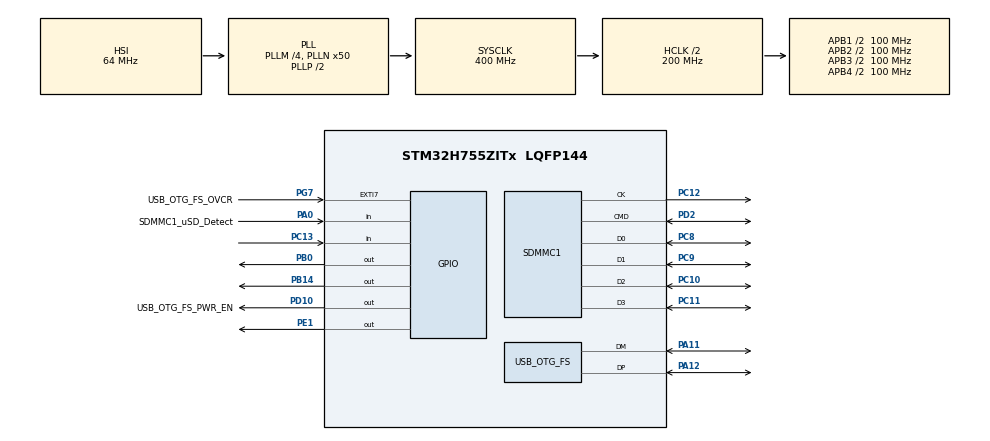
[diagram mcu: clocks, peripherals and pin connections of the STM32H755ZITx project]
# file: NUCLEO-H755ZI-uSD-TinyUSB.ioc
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CORTEX_M7.AccessPermission_S-Cortex_Memory_Protection_Unit_Region1_Settings_S=MPU_REGION_FULL_ACCESS
CORTEX_M7.CPU_DCache=Enabled
CORTEX_M7.CPU_ICache=Enabled
CORTEX_M7.Enable_S-Cortex_Memory_Protection_Unit_Region1_Settings_S=MPU_REGION_ENABLE
CORTEX_M7.Size_S-Cortex_Memory_Protection_Unit_Region1_Settings_S=MPU_REGION_SIZE_512KB
CORTEX_M7.TypeExtField_S-Cortex_Memory_Protection_Unit_Region1_Settings_S=MPU_TEX_LEVEL1
CORTEX_M7.default_mode_Activation=1
CortexM4.IPs=FATFS_M4\:I,FREERTOS_M4\:I,IWDG2\:I,RCC,WWDG2\:I,DMA,BDMA,MDMA,NVIC2\:I,ETH,USART3,DEBUG,PDM2PCM_M4\:I,PWR,RESMGR_UTILITY,SYS_M4\:I,USB_DEVICE_M4\:I,USB_HOST_M4\:I,CORTEX_M4\:I,GPIO,OPENAMP_M4\:I,VREFBUF,NUCLEO-H755ZI-Q
CortexM7.IPs=FATFS_M7\:I,FREERTOS_M7\:I,IWDG1\:I,RCC\:I,WWDG1\:I,DMA\:I,BDMA\:I,MDMA\:I,NVIC1\:I,ETH\:I,USART3\:I,USB_OTG_FS\:I,SYS\:I,CORTEX_M7\:I,DEBUG\:I,PDM2PCM_M7\:I,PWR\:I,RESMGR_UTILITY\:I,USB_DEVICE_M7\:I,USB_HOST_M7\:I,GPIO\:I,OPENAMP_M7\:I,VREFBUF\:I,NUCLEO-H755ZI-Q\:I,SDMMC1\:I
FATFS.BSP.number=1
FATFS0.BSP.STBoard=false
FATFS0.BSP.api=Unknown
FATFS0.BSP.instance=PA0
FATFS0.BSP.ip=GPIO
FATFS0.BSP.mode=Input
FATFS0.BSP.name=Detect_SDIO
FATFS0.BSP.solution=PA0
FATFS_M7.USE_DMA_CODE_SD=1
FATFS_M7._FS_EXFAT=1
FATFS_M7._MAX_SS=4096
FATFS_M7._USE_LFN=1
Mcu.Family=STM32H7
Mcu.Name=STM32H755ZITx
Mcu.Package=LQFP144
Mcu.UserConstants=SDMMC1_CK_DIV-CortexM7,4
NUCLEO-H755ZI-Q.BUTTON=1
NUCLEO-H755ZI-Q.Bsp_Common_DEMO=true
NUCLEO-H755ZI-Q.LD1=true
NUCLEO-H755ZI-Q.LD2=true
NUCLEO-H755ZI-Q.LD3=true
NUCLEO-H755ZI-Q.VCP=true
NVIC1.EXTI15_10_IRQn=true\:15\:0\:true\:false\:true\:false\:true\:true
NVIC1.OTG_FS_IRQn=true\:14\:0\:true\:false\:true\:true\:true\:true
NVIC1.PriorityGroup=NVIC_PRIORITYGROUP_4
NVIC1.SDMMC1_IRQn=true\:13\:0\:true\:false\:true\:true\:true\:true
NVIC2.PriorityGroup=NVIC_PRIORITYGROUP_4
PA0.GPIO_Label=SDMMC1_uSD_Detect
PA0.PinAttribute=Free
PA0.Signal=GPIO_Input
PA1.PinAttribute=CortexM7
PA1.Signal=ETH_REF_CLK
PA11.Mode=Device_Only
PA11.PinAttribute=CortexM7
PA11.Signal=USB_OTG_FS_DM
PA12.Mode=Device_Only
PA12.PinAttribute=CortexM7
PA12.Signal=USB_OTG_FS_DP
PA2.PinAttribute=CortexM7
PA2.Signal=ETH_MDIO
PA7.PinAttribute=CortexM7
PA7.Signal=ETH_CRS_DV
PA8.PinAttribute=CortexM7
PA8.Signal=USB_OTG_FS_SOF
PA9.PinAttribute=CortexM7
PA9.Signal=USB_OTG_FS_VBUS
PB0.Signal=GPIO_Output
PB13.PinAttribute=CortexM7
PB13.Signal=ETH_TXD1
PB14.Signal=GPIO_Output
PC1.PinAttribute=CortexM7
PC1.Signal=ETH_MDC
PC10.Mode=SD_4_bits_Wide_bus
PC10.PinAttribute=CortexM7
PC10.Signal=SDMMC1_D2
PC11.Mode=SD_4_bits_Wide_bus
PC11.PinAttribute=CortexM7
PC11.Signal=SDMMC1_D3
PC12.Mode=SD_4_bits_Wide_bus
PC12.PinAttribute=CortexM7
PC12.Signal=SDMMC1_CK
PC13.Signal=GPIO_Input
PC14-OSC32_IN\ (OSC32_IN).PinAttribute=Free
PC14-OSC32_IN\ (OSC32_IN).Signal=RCC_OSC32_IN
PC15-OSC32_OUT\ (OSC32_OUT).PinAttribute=Free
PC15-OSC32_OUT\ (OSC32_OUT).Signal=RCC_OSC32_OUT
PC4.PinAttribute=CortexM7
PC4.Signal=ETH_RXD0
PC5.PinAttribute=CortexM7
PC5.Signal=ETH_RXD1
PC8.Mode=SD_4_bits_Wide_bus
PC8.PinAttribute=CortexM7
PC8.Signal=SDMMC1_D0
PC9.Mode=SD_4_bits_Wide_bus
PC9.PinAttribute=CortexM7
PC9.Signal=SDMMC1_D1
PD10.GPIO_Label=USB_OTG_FS_PWR_EN
PD10.PinAttribute=Free
PD10.Signal=GPIO_Output
PD2.Mode=SD_4_bits_Wide_bus
PD2.PinAttribute=CortexM7
PD2.Signal=SDMMC1_CMD
PD8.Signal=USART3_TX
PD9.Signal=USART3_RX
PE1.Signal=GPIO_Output
PG11.PinAttribute=CortexM7
PG11.Signal=ETH_TX_EN
PG13.PinAttribute=CortexM7
PG13.Signal=ETH_TXD0
PG7.GPIO_Label=USB_OTG_FS_OVCR
PG7.PinAttribute=Free
PG7.Signal=GPXTI7
PH0-OSC_IN\ (PH0).PinAttribute=Free
PH0-OSC_IN\ (PH0).Signal=RCC_OSC_IN
PH1-OSC_OUT\ (PH1).PinAttribute=Free
PH1-OSC_OUT\ (PH1).Signal=RCC_OSC_OUT
ProjectManager.HeapSize=M4-0x400,M7-0x400
ProjectManager.StackSize=M4-0x800,M7-0x800
ProjectManager.TargetToolchain=STM32CubeIDE
RCC.ADCFreq_Value=129000000
RCC.APB1Freq_Value=100000000
RCC.APB2Freq_Value=100000000
RCC.APB3Freq_Value=100000000
RCC.APB4Freq_Value=100000000
RCC.CortexFreq_Value=400000000
RCC.D1PPRE=RCC_APB3_DIV2
RCC.D2PPRE1=RCC_APB1_DIV2
RCC.D2PPRE2=RCC_APB2_DIV2
RCC.D3PPRE=RCC_APB4_DIV2
RCC.DIVM1=4
RCC.DIVN1=50
RCC.DIVQ1=4
RCC.HCLKFreq_Value=200000000
RCC.HPRE=RCC_HCLK_DIV2
RCC.PLL2FRACN=0
RCC.PLL3FRACN=0
RCC.PLLFRACN=0
RCC.SYSCLKFreq_VALUE=400000000
RCC.SYSCLKSource=RCC_SYSCLKSOURCE_PLLCLK
RCC.SupplySource=PWR_DIRECT_SMPS_SUPPLY
RCC.USBCLockSelection=RCC_USBCLKSOURCE_HSI48
RCC.USBFreq_Value=48000000
SDMMC1.ClockDiv=SDMMC1_CK_DIV
USB_OTG_FS.VirtualMode=Device_Only
VP_FATFS_M7_VS_SDIO.Mode=SDIO
VP_NUCLEO-H755ZI-Q_VS_BSP_COMMON.Mode=COMMON
VP_SYS_M4_VS_Systick.Mode=SysTick
board=NUCLEO-H755ZI-Q

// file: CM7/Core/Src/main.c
/* USER CODE BEGIN Header */
/**
  ******************************************************************************
  * @file           : main.c
  * @brief          : Main program body
  ******************************************************************************
  * @attention
  *
  * Copyright (c) 2024 STMicroelectronics.
  * All rights reserved.
  *
  * This software is licensed under terms that can be found in the LICENSE file
  * in the root directory of this software component.
  * If no LICENSE file comes with this software, it is provided AS-IS.
  *
  ******************************************************************************
  */
/* USER CODE END Header */
#include "main.h"
#include "fatfs.h"

/* USER CODE BEGIN Includes */
#include "tusb.h"
/* USER CODE END Includes */

/* USER CODE BEGIN PD */

#ifndef HSEM_ID_0
#define HSEM_ID_0 (0U) /* HW semaphore 0*/
#endif

/* USER CODE END PD */

/* USER CODE BEGIN PM */

/* Blink pattern
 * - 250 ms  : device not mounted
 * - 1000 ms : device mounted
 * - 2500 ms : device is suspended
 */
enum {
  BLINK_NOT_MOUNTED = 250,
  BLINK_MOUNTED = 1000,
  BLINK_SUSPENDED = 2500,
};

/* USER CODE END PM */

COM_InitTypeDef BspCOMInit;
__IO uint32_t BspButtonState = BUTTON_RELEASED;

SD_HandleTypeDef hsd1;

PCD_HandleTypeDef hpcd_USB_OTG_FS;

/* USER CODE BEGIN PV */

static uint32_t blink_interval_ms = BLINK_NOT_MOUNTED;

/* USER CODE END PV */

void SystemClock_Config(void);
static void MPU_Config(void);
static void MX_GPIO_Init(void);
static void MX_SDMMC1_SD_Init(void);
static void MX_USB_OTG_FS_PCD_Init(void);
/* USER CODE BEGIN PFP */

void led_blinking_task(void);
void cdc_task(void);

/* USER CODE END PFP */

int main(void)
{

/* USER CODE BEGIN Boot_Mode_Sequence_0 */
  int32_t timeout;
/* USER CODE END Boot_Mode_Sequence_0 */

  /* MPU Configuration--------------------------------------------------------*/
  MPU_Config();

  /* Enable the CPU Cache */

  /* Enable I-Cache---------------------------------------------------------*/
  SCB_EnableICache();

  /* Enable D-Cache---------------------------------------------------------*/
  SCB_EnableDCache();

/* USER CODE BEGIN Boot_Mode_Sequence_1 */
  /* Wait until CPU2 boots and enters in stop mode or timeout*/
  timeout = 0xFFFF;
  while((__HAL_RCC_GET_FLAG(RCC_FLAG_D2CKRDY) != RESET) && (timeout-- > 0));
  if ( timeout < 0 )
  {
  Error_Handler();
  }
/* USER CODE END Boot_Mode_Sequence_1 */
  /* MCU Configuration--------------------------------------------------------*/

  /* Reset of all peripherals, Initializes the Flash interface and the Systick. */
  HAL_Init();

  /* Configure the system clock */
  SystemClock_Config();
/* USER CODE BEGIN Boot_Mode_Sequence_2 */
/* When system initialization is finished, Cortex-M7 will release Cortex-M4 by means of
HSEM notification */
/*HW semaphore Clock enable*/
__HAL_RCC_HSEM_CLK_ENABLE();
/*Take HSEM */
HAL_HSEM_FastTake(HSEM_ID_0);
/*Release HSEM in order to notify the CPU2(CM4)*/
HAL_HSEM_Release(HSEM_ID_0,0);
/* wait until CPU2 wakes up from stop mode */
timeout = 0xFFFF;
while((__HAL_RCC_GET_FLAG(RCC_FLAG_D2CKRDY) == RESET) && (timeout-- > 0));
if ( timeout < 0 )
{
Error_Handler();
}
/* USER CODE END Boot_Mode_Sequence_2 */

  /* Initialize all configured peripherals */
  MX_GPIO_Init();
  MX_SDMMC1_SD_Init();
  MX_FATFS_Init();
  MX_USB_OTG_FS_PCD_Init();
  /* USER CODE BEGIN 2 */
  tusb_init();

  /* USER CODE END 2 */

  /* Initialize leds */
  BSP_LED_Init(LED_GREEN);
  BSP_LED_Init(LED_YELLOW);
  BSP_LED_Init(LED_RED);

  /* Initialize USER push-button, will be used to trigger an interrupt each time it's pressed.*/
  BSP_PB_Init(BUTTON_USER, BUTTON_MODE_EXTI);

  /* Initialize COM1 port (115200, 8 bits (7-bit data + 1 stop bit), no parity */
  BspCOMInit.BaudRate   = 115200;
  BspCOMInit.WordLength = COM_WORDLENGTH_8B;
  BspCOMInit.StopBits   = COM_STOPBITS_1;
  BspCOMInit.Parity     = COM_PARITY_NONE;
  BspCOMInit.HwFlowCtl  = COM_HWCONTROL_NONE;
  if (BSP_COM_Init(COM1, &BspCOMInit) != BSP_ERROR_NONE)
  {
    Error_Handler();
  }

  /* USER CODE BEGIN BSP */
  /* -- Sample board code to send message over COM1 port ---- */
  printf("Welcome to STM32 world !\n\r");
  /* -- Sample board code to switch on leds ---- */
  BSP_LED_On(LED_GREEN);
  BSP_LED_On(LED_YELLOW);
  BSP_LED_On(LED_RED);
  /* USER CODE END BSP */

  /* Infinite loop */
  /* USER CODE BEGIN WHILE */
  while (1)
  {

    /* -- Sample board code for User push-button in interrupt mode ---- */
    if (BspButtonState == BUTTON_PRESSED)
    {
      /* Update button state */
      BspButtonState = BUTTON_RELEASED;
      /* -- Sample board code to toggle leds ---- */
      BSP_LED_Toggle(LED_GREEN);
      BSP_LED_Toggle(LED_YELLOW);
      BSP_LED_Toggle(LED_RED);
      /* ..... Perform your action ..... */
    }
    /* USER CODE END WHILE */

    /* USER CODE BEGIN 3 */
    tud_task();
    led_blinking_task();

    cdc_task();
  }
  /* USER CODE END 3 */
}

void SystemClock_Config(void)
{
  RCC_OscInitTypeDef RCC_OscInitStruct = {0};
  RCC_ClkInitTypeDef RCC_ClkInitStruct = {0};

  /** Supply configuration update enable
  */
  HAL_PWREx_ConfigSupply(PWR_DIRECT_SMPS_SUPPLY);

  /** Configure the main internal regulator output voltage
  */
  __HAL_PWR_VOLTAGESCALING_CONFIG(PWR_REGULATOR_VOLTAGE_SCALE1);

  while(!__HAL_PWR_GET_FLAG(PWR_FLAG_VOSRDY)) {}

  /** Initializes the RCC Oscillators according to the specified parameters
  * in the RCC_OscInitTypeDef structure.
  */
  RCC_OscInitStruct.OscillatorType = RCC_OSCILLATORTYPE_HSI48|RCC_OSCILLATORTYPE_HSI;
  RCC_OscInitStruct.HSIState = RCC_HSI_DIV1;
  RCC_OscInitStruct.HSICalibrationValue = RCC_HSICALIBRATION_DEFAULT;
  RCC_OscInitStruct.HSI48State = RCC_HSI48_ON;
  RCC_OscInitStruct.PLL.PLLState = RCC_PLL_ON;
  RCC_OscInitStruct.PLL.PLLSource = RCC_PLLSOURCE_HSI;
  RCC_OscInitStruct.PLL.PLLM = 4;
  RCC_OscInitStruct.PLL.PLLN = 50;
  RCC_OscInitStruct.PLL.PLLP = 2;
  RCC_OscInitStruct.PLL.PLLQ = 4;
  RCC_OscInitStruct.PLL.PLLR = 2;
  RCC_OscInitStruct.PLL.PLLRGE = RCC_PLL1VCIRANGE_3;
  RCC_OscInitStruct.PLL.PLLVCOSEL = RCC_PLL1VCOWIDE;
  RCC_OscInitStruct.PLL.PLLFRACN = 0;
  if (HAL_RCC_OscConfig(&RCC_OscInitStruct) != HAL_OK)
  {
    Error_Handler();
  }

  /** Initializes the CPU, AHB and APB buses clocks
  */
  RCC_ClkInitStruct.ClockType = RCC_CLOCKTYPE_HCLK|RCC_CLOCKTYPE_SYSCLK
                              |RCC_CLOCKTYPE_PCLK1|RCC_CLOCKTYPE_PCLK2
                              |RCC_CLOCKTYPE_D3PCLK1|RCC_CLOCKTYPE_D1PCLK1;
  RCC_ClkInitStruct.SYSCLKSource = RCC_SYSCLKSOURCE_PLLCLK;
  RCC_ClkInitStruct.SYSCLKDivider = RCC_SYSCLK_DIV1;
  RCC_ClkInitStruct.AHBCLKDivider = RCC_HCLK_DIV2;
  RCC_ClkInitStruct.APB3CLKDivider = RCC_APB3_DIV2;
  RCC_ClkInitStruct.APB1CLKDivider = RCC_APB1_DIV2;
  RCC_ClkInitStruct.APB2CLKDivider = RCC_APB2_DIV2;
  RCC_ClkInitStruct.APB4CLKDivider = RCC_APB4_DIV2;

  if (HAL_RCC_ClockConfig(&RCC_ClkInitStruct, FLASH_LATENCY_2) != HAL_OK)
  {
    Error_Handler();
  }
}

static void MX_SDMMC1_SD_Init(void)
{

  hsd1.Instance = SDMMC1;
  hsd1.Init.ClockEdge = SDMMC_CLOCK_EDGE_RISING;
  hsd1.Init.ClockPowerSave = SDMMC_CLOCK_POWER_SAVE_DISABLE;
  hsd1.Init.BusWide = SDMMC_BUS_WIDE_4B;
  hsd1.Init.HardwareFlowControl = SDMMC_HARDWARE_FLOW_CONTROL_DISABLE;
  hsd1.Init.ClockDiv = SDMMC1_CK_DIV;
  if (HAL_SD_Init(&hsd1) != HAL_OK)
  {
    Error_Handler();
  }

}

static void MX_USB_OTG_FS_PCD_Init(void)
{

  hpcd_USB_OTG_FS.Instance = USB_OTG_FS;
  hpcd_USB_OTG_FS.Init.dev_endpoints = 9;
  hpcd_USB_OTG_FS.Init.speed = PCD_SPEED_FULL;
  hpcd_USB_OTG_FS.Init.dma_enable = DISABLE;
  hpcd_USB_OTG_FS.Init.phy_itface = PCD_PHY_EMBEDDED;
  hpcd_USB_OTG_FS.Init.Sof_enable = DISABLE;
  hpcd_USB_OTG_FS.Init.low_power_enable = DISABLE;
  hpcd_USB_OTG_FS.Init.lpm_enable = DISABLE;
  hpcd_USB_OTG_FS.Init.battery_charging_enable = DISABLE;
  hpcd_USB_OTG_FS.Init.vbus_sensing_enable = DISABLE;
  hpcd_USB_OTG_FS.Init.use_dedicated_ep1 = DISABLE;
  if (HAL_PCD_Init(&hpcd_USB_OTG_FS) != HAL_OK)
  {
    Error_Handler();
  }

}

static void MX_GPIO_Init(void)
{
  GPIO_InitTypeDef GPIO_InitStruct = {0};

  /* GPIO Ports Clock Enable */
  __HAL_RCC_GPIOC_CLK_ENABLE();
  __HAL_RCC_GPIOA_CLK_ENABLE();
  __HAL_RCC_GPIOB_CLK_ENABLE();
  __HAL_RCC_GPIOD_CLK_ENABLE();
  __HAL_RCC_GPIOG_CLK_ENABLE();

  /*Configure GPIO pins : PC1 PC4 PC5 */
  GPIO_InitStruct.Pin = GPIO_PIN_1|GPIO_PIN_4|GPIO_PIN_5;
  GPIO_InitStruct.Mode = GPIO_MODE_AF_PP;
  GPIO_InitStruct.Pull = GPIO_NOPULL;
  GPIO_InitStruct.Speed = GPIO_SPEED_FREQ_LOW;
  GPIO_InitStruct.Alternate = GPIO_AF11_ETH;
  HAL_GPIO_Init(GPIOC, &GPIO_InitStruct);

  /*Configure GPIO pin : SDMMC1_uSD_Detect_Pin */
  GPIO_InitStruct.Pin = SDMMC1_uSD_Detect_Pin;
  GPIO_InitStruct.Mode = GPIO_MODE_INPUT;
  GPIO_InitStruct.Pull = GPIO_NOPULL;
  HAL_GPIO_Init(SDMMC1_uSD_Detect_GPIO_Port, &GPIO_InitStruct);

  /*Configure GPIO pins : PA1 PA2 PA7 */
  GPIO_InitStruct.Pin = GPIO_PIN_1|GPIO_PIN_2|GPIO_PIN_7;
  GPIO_InitStruct.Mode = GPIO_MODE_AF_PP;
  GPIO_InitStruct.Pull = GPIO_NOPULL;
  GPIO_InitStruct.Speed = GPIO_SPEED_FREQ_LOW;
  GPIO_InitStruct.Alternate = GPIO_AF11_ETH;
  HAL_GPIO_Init(GPIOA, &GPIO_InitStruct);

  /*Configure GPIO pin : PB13 */
  GPIO_InitStruct.Pin = GPIO_PIN_13;
  GPIO_InitStruct.Mode = GPIO_MODE_AF_PP;
  GPIO_InitStruct.Pull = GPIO_NOPULL;
  GPIO_InitStruct.Speed = GPIO_SPEED_FREQ_LOW;
  GPIO_InitStruct.Alternate = GPIO_AF11_ETH;
  HAL_GPIO_Init(GPIOB, &GPIO_InitStruct);

  /*Configure GPIO pins : PG11 PG13 */
  GPIO_InitStruct.Pin = GPIO_PIN_11|GPIO_PIN_13;
  GPIO_InitStruct.Mode = GPIO_MODE_AF_PP;
  GPIO_InitStruct.Pull = GPIO_NOPULL;
  GPIO_InitStruct.Speed = GPIO_SPEED_FREQ_LOW;
  GPIO_InitStruct.Alternate = GPIO_AF11_ETH;
  HAL_GPIO_Init(GPIOG, &GPIO_InitStruct);

}

/* USER CODE BEGIN 4 */

//--------------------------------------------------------------------+
// Device callbacks
//--------------------------------------------------------------------+

// Invoked when device is mounted
void tud_mount_cb(void) {
  blink_interval_ms = BLINK_MOUNTED;
}

// Invoked when device is unmounted
void tud_umount_cb(void) {
  blink_interval_ms = BLINK_NOT_MOUNTED;
}

// Invoked when usb bus is suspended
// remote_wakeup_en : if host allow us  to perform remote wakeup
// Within 7ms, device must draw an average of current less than 2.5 mA from bus
void tud_suspend_cb(bool remote_wakeup_en) {
  (void) remote_wakeup_en;
  blink_interval_ms = BLINK_SUSPENDED;
}

// Invoked when usb bus is resumed
void tud_resume_cb(void) {
  blink_interval_ms = tud_mounted() ? BLINK_MOUNTED : BLINK_NOT_MOUNTED;
}

//--------------------------------------------------------------------+
// USB CDC
//--------------------------------------------------------------------+
void cdc_task(void) {
  // connected() check for DTR bit
  // Most but not all terminal client set this when making connection
  // if ( tud_cdc_connected() )
  {
    // connected and there are data available
    if (tud_cdc_available()) {
      // read data
      char buf[64];
      uint32_t count = tud_cdc_read(buf, sizeof(buf));
      (void) count;

      // Echo back
      // Note: Skip echo by commenting out write() and write_flush()
      // for throughput test e.g
      //    $ dd if=/dev/zero of=/dev/ttyACM0 count=10000
      tud_cdc_write(buf, count);
      tud_cdc_write_flush();
    }
  }
}

// Invoked when cdc when line state changed e.g connected/disconnected
void tud_cdc_line_state_cb(uint8_t itf, bool dtr, bool rts) {
  (void) itf;
  (void) rts;

  // TODO set some indicator
  if (dtr) {
    // Terminal connected
  } else {
    // Terminal disconnected
  }
}

// Invoked when CDC interface received data from host
void tud_cdc_rx_cb(uint8_t itf) {
  (void) itf;
}

//--------------------------------------------------------------------+
// BLINKING TASK
//--------------------------------------------------------------------+
void led_blinking_task(void) {
  static uint32_t start_ms = 0;

  // Blink every interval ms
  if (HAL_GetTick() - start_ms < blink_interval_ms) return; // not enough time
  start_ms += blink_interval_ms;

  BSP_LED_Toggle(LED_GREEN);
}

/* USER CODE END 4 */

 /* MPU Configuration */

void MPU_Config(void)
{
  MPU_Region_InitTypeDef MPU_InitStruct = {0};

  /* Disables the MPU */
  HAL_MPU_Disable();

  /** Initializes and configures the Region and the memory to be protected
  */
  MPU_InitStruct.Enable = MPU_REGION_ENABLE;
  MPU_InitStruct.Number = MPU_REGION_NUMBER0;
  MPU_InitStruct.BaseAddress = 0x0;
  MPU_InitStruct.Size = MPU_REGION_SIZE_4GB;
  MPU_InitStruct.SubRegionDisable = 0x87;
  MPU_InitStruct.TypeExtField = MPU_TEX_LEVEL0;
  MPU_InitStruct.AccessPermission = MPU_REGION_NO_ACCESS;
  MPU_InitStruct.DisableExec = MPU_INSTRUCTION_ACCESS_DISABLE;
  MPU_InitStruct.IsShareable = MPU_ACCESS_SHAREABLE;
  MPU_InitStruct.IsCacheable = MPU_ACCESS_NOT_CACHEABLE;
  MPU_InitStruct.IsBufferable = MPU_ACCESS_NOT_BUFFERABLE;

  HAL_MPU_ConfigRegion(&MPU_InitStruct);

  /** Initializes and configures the Region and the memory to be protected
  */
  MPU_InitStruct.Number = MPU_REGION_NUMBER1;
  MPU_InitStruct.Size = MPU_REGION_SIZE_512KB;
  MPU_InitStruct.SubRegionDisable = 0x0;
  MPU_InitStruct.TypeExtField = MPU_TEX_LEVEL1;
  MPU_InitStruct.AccessPermission = MPU_REGION_FULL_ACCESS;
  MPU_InitStruct.DisableExec = MPU_INSTRUCTION_ACCESS_ENABLE;
  MPU_InitStruct.IsShareable = MPU_ACCESS_NOT_SHAREABLE;

  HAL_MPU_ConfigRegion(&MPU_InitStruct);
  /* Enables the MPU */
  HAL_MPU_Enable(MPU_PRIVILEGED_DEFAULT);

}

/**
  * @brief  BSP Push Button callback
  * @param  Button Specifies the pressed button
  * @retval None
  */
void BSP_PB_Callback(Button_TypeDef Button)
{
  if (Button == BUTTON_USER)
  {
    BspButtonState = BUTTON_PRESSED;
  }
}

void Error_Handler(void)
{
  __disable_irq();
  while (1)
  {
  }
}
